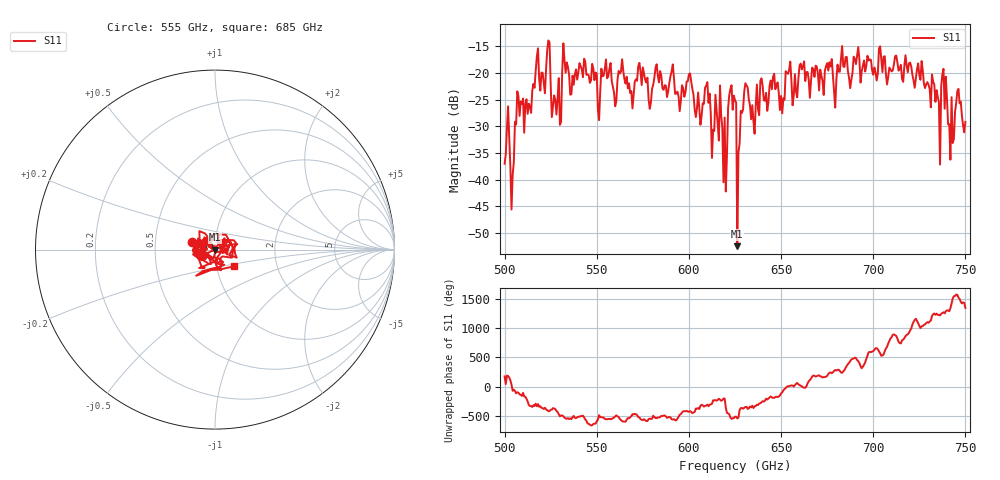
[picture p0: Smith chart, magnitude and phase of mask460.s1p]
!Created with skrf (http://scikit-rf.org).
# GHz S MA R 50.0
!freq magS11 angS11
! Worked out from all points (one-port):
!   401 points, 500 GHz to 750 GHz, reference 50 ohm
!   lowest |S11| = -52.5 dB at 626.2 GHz (marker M1), VSWR 1.00, Z = 49.8 + j0.0218 ohm
!   |S11| at or under -10 dB: start of sweep to end of sweep
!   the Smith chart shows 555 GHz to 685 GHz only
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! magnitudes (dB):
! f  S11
! 500 GHz  -37.0
! 501.9 GHz  -26.2
! 504.4 GHz  -39.1
! 506.9 GHz  -23.4
! 513.8 GHz  -26.3
! 516.9 GHz  -19.5
! 523.8 GHz  -13.9
! 526.9 GHz  -24.2
! 531.2 GHz  -19.7
! 533.1 GHz  -19.9
! 550.6 GHz  -26.9
! 562.5 GHz  -20.1
! 593.8 GHz  -23.5
! 610 GHz  -21.7
! 619.4 GHz  -28.3
! 623.1 GHz  -22.3
! 625 GHz  -25.1
! 626.2 GHz  -52.5
! 631.2 GHz  -22.3
! 635 GHz  -29.0
! 656.2 GHz  -26.0
! 687.5 GHz  -22.8
! 718.8 GHz  -19.8
! 735 GHz  -24.4
! 738.1 GHz  -19.2
! 742.5 GHz  -24.5
! 746.2 GHz  -23.0
! 750 GHz  -29.2
